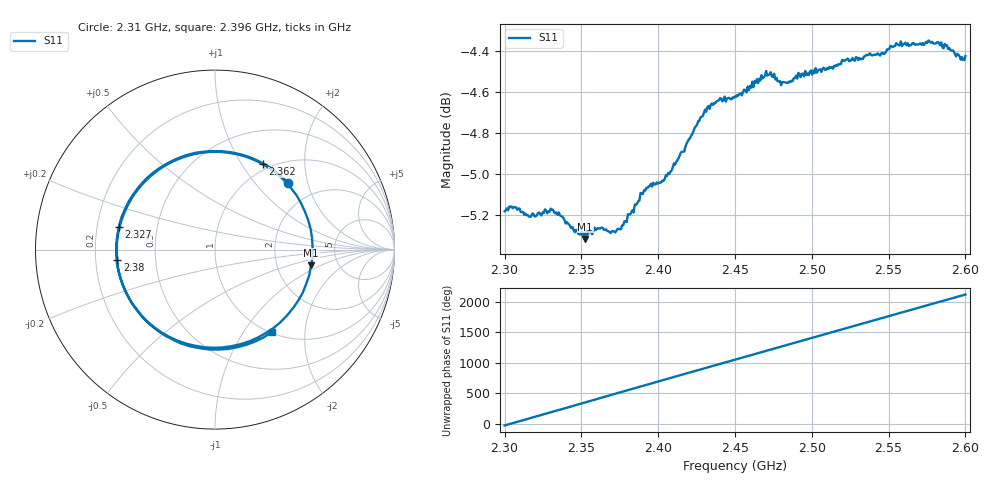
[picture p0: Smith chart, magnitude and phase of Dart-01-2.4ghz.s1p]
! NanoVNA-App
! Date: 2026-05-25 01:58:16
! Start: 2.3GHz Stop: 2.6GHz Points: 401
! S-Parameter data: F S11
# Hz S RI R 50
!  Frequency  S11_Real  S11_Imag
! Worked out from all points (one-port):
!   401 points, 2.3 GHz to 2.6 GHz, reference 50 ohm
!   lowest |S11| = -5.3 dB at 2.353 GHz (marker M1), VSWR 3.37, Z = 158 - j38.9 ohm
!   |S11| at or under -10 dB: nowhere
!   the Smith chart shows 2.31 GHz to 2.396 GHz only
!   S11 on the Smith chart (normalised r, x): 2.31 GHz: 1.42, +1.52; 2.327 GHz: 0.29, +0.11; 2.362 GHz: 0.92, +1.25; 2.38 GHz: 0.29, -0.05; 2.396 GHz: 1.02, -1.36
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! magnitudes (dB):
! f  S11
! 2.3 GHz  -5.2
! 2.304 GHz  -5.2
! 2.31 GHz  -5.2
! 2.316 GHz  -5.2
! 2.327 GHz  -5.2
! 2.332 GHz  -5.2
! 2.337 GHz  -5.2
! 2.344 GHz  -5.3
! 2.353 GHz  -5.3
! 2.362 GHz  -5.3
! 2.37 GHz  -5.3
! 2.375 GHz  -5.3
! 2.38 GHz  -5.2
! 2.39 GHz  -5.1
! 2.396 GHz  -5.1
! 2.403 GHz  -5.0
! 2.413 GHz  -4.9
! 2.431 GHz  -4.7
! 2.439 GHz  -4.6
! 2.45 GHz  -4.6
! 2.472 GHz  -4.5
! 2.479 GHz  -4.5
! 2.487 GHz  -4.5
! 2.525 GHz  -4.4
! 2.557 GHz  -4.4
! 2.562 GHz  -4.4
! 2.583 GHz  -4.4
! 2.6 GHz  -4.4
